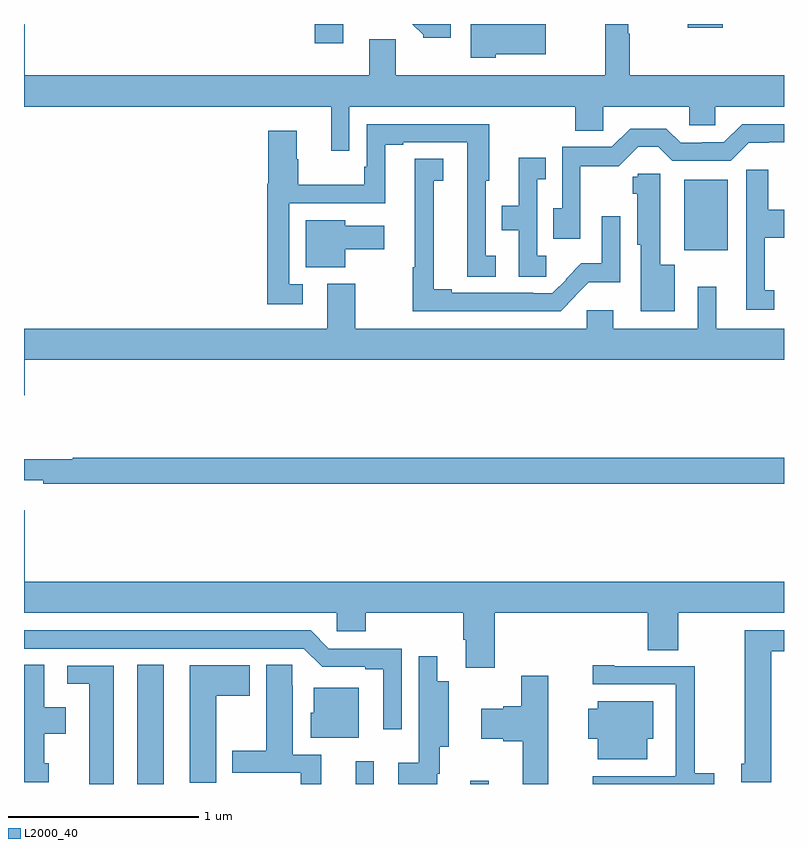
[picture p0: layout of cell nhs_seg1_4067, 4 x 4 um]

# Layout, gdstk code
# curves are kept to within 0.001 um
import gdstk
lib = gdstk.Library(unit=1e-6, precision=1e-09)
def R(c, l, rs):  # rectangles x0, y0, x1, y1
    for r in rs: c.add(gdstk.rectangle(r[:2], r[2:], *l))
def P(c, l, *ps):  # polygons
    for p in ps: c.add(gdstk.Polygon(p, *l))
L2000_40 = (2000, 40)

nhs_seg1_4067 = lib.new_cell('nhs_seg1_4067')
R(nhs_seg1_4067, L2000_40, [(333.596,516.199,333.736,516.827), (334.745,516.199,334.842,516.319), (335.348,516.199,335.446,516.217), (336.476,519.008,336.703,519.379), (334.529,520.097,334.681,520.199), (336.494,520.179,336.677,520.199)])
P(nhs_seg1_4067, L2000_40, [(334.713,519.764),(335.902,519.764),(335.902,519.637),(336.048,519.637),(336.048,519.764),(336.501,519.764),(336.501,519.666),(336.639,519.666),(336.639,519.764),(337,519.764),(337,519.928),(336.188,519.928),(336.188,520.148),(336.181,520.148),(336.181,520.199),(336.06,520.199),(336.06,519.928),(334.957,519.928),(334.957,520.118),(334.817,520.118),(334.817,519.928),(333.004,519.928),(333.004,520.199),(333,520.199),(333,519.764),(334.616,519.764),(334.616,519.531),(334.713,519.531)],
  [(335.484,520.04),(335.746,520.04),(335.746,520.198),(335.448,520.198),(335.448,520.199),(335.352,520.199),(335.352,520.022),(335.484,520.022)],
  [(335.245,520.199),(335.043,520.199),(335.1,520.142),(335.1,520.127),(335.245,520.127)],
  [(334.468,518.829),(334.395,518.829),(334.395,519.255),(334.9,519.255),(334.9,519.564),(334.996,519.564),(334.996,519.576),(335.334,519.576),(335.334,519.275),(335.333,519.275),(335.333,518.869),(335.482,518.869),(335.482,518.98),(335.43,518.98),(335.43,519.375),(335.449,519.375),(335.449,519.672),(334.803,519.672),(334.803,519.448),(334.791,519.448),(334.791,519.352),(334.443,519.352),(334.443,519.486),(334.435,519.486),(334.435,519.637),(334.286,519.637),(334.286,519.358),(334.279,519.358),(334.279,518.724),(334.468,518.724)],
  [(335.928,519.451),(336.13,519.451),(336.232,519.554),(336.338,519.554),(336.411,519.48),(336.72,519.48),(336.815,519.575),(337,519.576),(337,519.672),(336.78,519.672),(336.684,519.576),(336.569,519.576),(336.569,519.573),(336.456,519.573),(336.38,519.649),(336.19,519.649),(336.093,519.552),(335.832,519.552),(335.832,519.23),(335.785,519.23),(335.785,519.069),(335.928,519.069)],
  [(335.749,518.98),(335.7,518.98),(335.7,519.383),(335.747,519.383),(335.747,519.496),(335.603,519.496),(335.603,519.242),(335.515,519.242),(335.515,519.114),(335.604,519.114),(335.604,518.869),(335.749,518.869)],
  [(335.902,518.765),(335.9,518.768),(335.973,518.841),(336.138,518.841),(336.138,519.187),(336.042,519.187),(336.042,518.939),(335.933,518.939),(335.85,518.856),(335.853,518.853),(335.781,518.781),(335.681,518.781),(335.681,518.784),(335.251,518.784),(335.251,518.804),(335.156,518.804),(335.156,519.373),(335.206,519.373),(335.206,519.491),(335.057,519.491),(335.057,518.918),(335.046,518.918),(335.046,518.688),(335.824,518.688)],
  [(336.949,518.799),(336.899,518.799),(336.899,519.074),(337,519.074),(337,519.222),(336.916,519.222),(336.916,519.433),(336.8,519.433),(336.8,518.694),(336.949,518.694)],
  [(336.424,518.932),(336.349,518.932),(336.349,519.411),(336.231,519.411),(336.231,519.396),(336.203,519.396),(336.203,519.306),(336.227,519.306),(336.227,519.036),(336.246,519.036),(336.246,518.687),(336.424,518.687)],
  [(334.69,519.014),(334.897,519.014),(334.897,519.136),(334.69,519.136),(334.69,519.166),(334.484,519.166),(334.484,518.918),(334.69,518.918)],
  [(333.004,518.432),(337,518.432),(337,518.596),(336.643,518.596),(336.643,518.815),(336.546,518.815),(336.546,518.596),(336.1,518.596),(336.1,518.692),(335.961,518.692),(335.961,518.596),(334.743,518.596),(334.743,518.833),(334.595,518.833),(334.595,518.596),(333,518.596),(333,518.244),(333.004,518.244)],
  [(337,517.916),(333.257,517.916),(333.257,517.909),(333,517.909),(333,517.799),(333.1,517.799),(333.1,517.78),(337,517.78)],
  [(335.477,517.1),(336.284,517.1),(336.284,516.904),(336.444,516.904),(336.444,517.1),(337,517.1),(337,517.264),(333.004,517.264),(333.004,517.639),(333,517.639),(333,517.1),(334.647,517.1),(334.647,517.002),(334.799,517.002),(334.799,517.1),(335.312,517.1),(335.312,516.958),(335.324,516.958),(335.324,516.81),(335.477,516.81)],
  [(334.989,516.912),(334.605,516.912),(334.509,517.008),(333,517.008),(333,516.912),(334.473,516.912),(334.569,516.816),(334.796,516.816),(334.796,516.804),(334.892,516.804),(334.892,516.486),(334.989,516.486)],
  [(336.933,516.316),(336.934,516.316),(336.934,516.897),(337,516.897),(337,517.008),(336.794,517.008),(336.794,516.306),(336.776,516.306),(336.776,516.208),(336.933,516.208)],
  [(335.175,516.254),(335.188,516.254),(335.188,516.395),(335.236,516.395),(335.236,516.739),(335.176,516.739),(335.176,516.871),(335.078,516.871),(335.078,516.635),(335.077,516.635),(335.077,516.31),(334.97,516.31),(334.97,516.199),(335.175,516.199)],
  [(334.565,516.354),(334.414,516.354),(334.414,516.716),(334.413,516.716),(334.413,516.827),(334.274,516.827),(334.274,516.375),(334.097,516.375),(334.097,516.258),(334.456,516.258),(334.456,516.199),(334.565,516.199)],
  [(333.13,516.309),(333.106,516.309),(333.106,516.464),(333.22,516.464),(333.22,516.604),(333.106,516.604),(333.106,516.827),(333,516.827),(333,516.207),(333.13,516.207)],
  [(336.634,516.256),(336.53,516.256),(336.53,516.819),(336.106,516.819),(336.106,516.824),(335.994,516.824),(335.994,516.723),(336.429,516.723),(336.429,516.242),(336.428,516.242),(336.428,516.24),(335.994,516.24),(335.994,516.199),(336.634,516.199)],
  [(334.012,516.664),(334.189,516.664),(334.189,516.823),(333.872,516.823),(333.872,516.313),(333.873,516.313),(333.873,516.205),(334.012,516.205)],
  [(333.472,516.822),(333.228,516.822),(333.228,516.726),(333.344,516.726),(333.344,516.199),(333.472,516.199)],
  [(335.758,516.769),(335.617,516.769),(335.617,516.608),(335.523,516.608),(335.523,516.595),(335.406,516.595),(335.406,516.437),(335.523,516.437),(335.523,516.425),(335.624,516.425),(335.624,516.199),(335.758,516.199)],
  [(334.762,516.706),(334.526,516.706),(334.526,516.573),(334.508,516.573),(334.508,516.443),(334.762,516.443)],
  [(336.28,516.437),(336.313,516.437),(336.313,516.634),(336.02,516.634),(336.02,516.595),(335.969,516.595),(335.969,516.437),(336.02,516.437),(336.02,516.329),(336.28,516.329)])

lib.write_gds('nhs_seg1_4067.gds')
